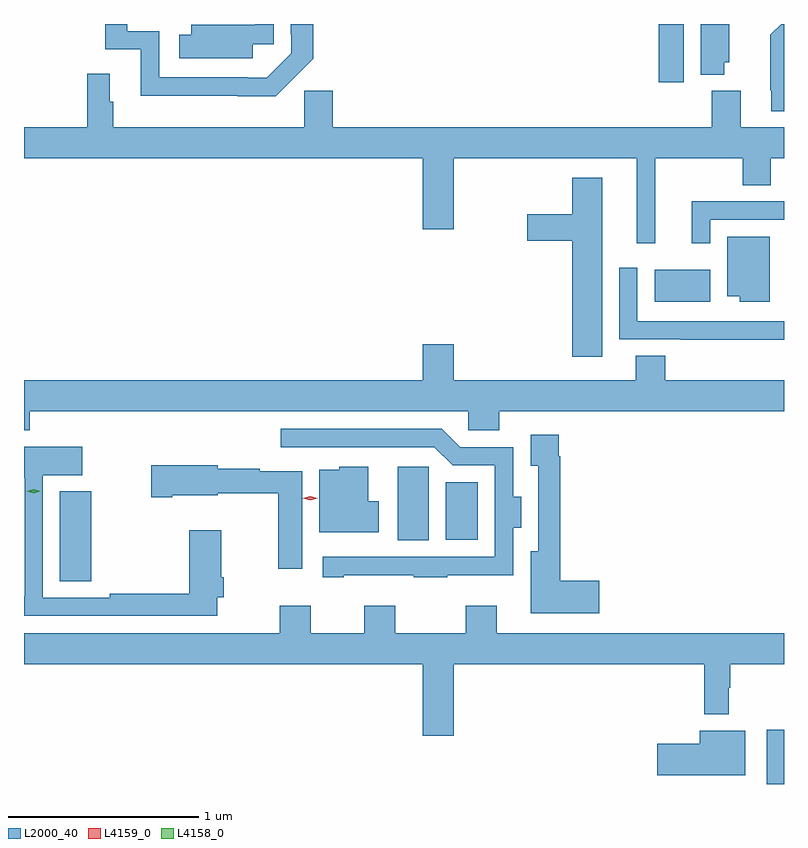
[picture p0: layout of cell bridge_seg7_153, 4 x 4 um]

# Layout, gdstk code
import gdstk
lib = gdstk.Library(unit=1e-6, precision=1e-09)
def R(c, l, rs):  # rectangles x0, y0, x1, y1
    for r in rs: c.add(gdstk.rectangle(r[:2], r[2:], *l))
def P(c, l, *ps):  # polygons
    for p in ps: c.add(gdstk.Polygon(p, *l))
L2000_40 = (2000, 40)
L4158_0 = (4158, 0)
L4159_0 = (4159, 0)

bridge_seg7_153 = lib.new_cell('bridge_seg7_153')
R(bridge_seg7_153, L2000_40, [(586.397,1041.279,586.489,1041.565), (582.677,1042.345,582.844,1042.819), (584.456,1042.561,584.62,1042.948), (584.708,1042.565,584.878,1042.867), (585.809,1043.816,586.102,1043.986), (585.83,1044.972,585.961,1045.279)])
P(bridge_seg7_153, L2000_40, [(586.489,1045.279),(586.474,1045.279),(586.417,1045.222),(586.417,1044.931),(586.421,1044.931),(586.421,1044.821),(586.489,1044.821)],
  [(586.174,1045.077),(586.201,1045.077),(586.201,1045.279),(586.052,1045.279),(586.052,1045.013),(586.174,1045.013)],
  [(584.005,1045.09),(584.012,1045.097),(584.012,1045.279),(583.893,1045.279),(583.893,1045.225),(583.896,1045.225),(583.896,1045.125),(583.767,1044.996),(583.667,1044.996),(583.667,1044.999),(583.2,1044.999),(583.2,1045.242),(583.032,1045.242),(583.032,1045.279),(582.916,1045.279),(582.916,1045.146),(583.103,1045.146),(583.103,1044.902),(583.615,1044.902),(583.615,1044.9),(583.814,1044.9)],
  [(583.693,1045.173),(583.803,1045.173),(583.803,1045.279),(583.707,1045.279),(583.707,1045.276),(583.37,1045.276),(583.37,1045.222),(583.305,1045.222),(583.305,1045.1),(583.693,1045.1)],
  [(585.812,1044.572),(586.273,1044.572),(586.273,1044.43),(586.42,1044.43),(586.42,1044.572),(586.489,1044.572),(586.489,1044.736),(586.261,1044.736),(586.261,1044.928),(586.109,1044.928),(586.109,1044.736),(584.114,1044.736),(584.114,1044.927),(583.963,1044.927),(583.963,1044.736),(582.959,1044.736),(582.959,1044.869),(582.94,1044.869),(582.94,1045.018),(582.823,1045.018),(582.823,1044.736),(582.489,1044.736),(582.489,1044.572),(584.588,1044.572),(584.588,1044.198),(584.752,1044.198),(584.752,1044.572),(585.713,1044.572),(585.713,1044.126),(585.812,1044.126)],
  [(585.532,1044.469),(585.374,1044.469),(585.374,1044.279),(585.138,1044.279),(585.138,1044.137),(585.374,1044.137),(585.374,1043.529),(585.532,1043.529)],
  [(586.101,1044.249),(586.489,1044.249),(586.489,1044.345),(586.004,1044.345),(586.004,1044.126),(586.101,1044.126)],
  [(586.414,1044.16),(586.19,1044.16),(586.19,1043.846),(586.256,1043.846),(586.256,1043.816),(586.414,1043.816)],
  [(586.489,1043.715),(585.717,1043.715),(585.717,1043.995),(585.621,1043.995),(585.621,1043.619),(585.946,1043.619),(585.946,1043.618),(586.489,1043.618)],
  [(582.518,1043.24),(584.826,1043.24),(584.826,1043.142),(584.99,1043.142),(584.99,1043.24),(586.489,1043.24),(586.489,1043.404),(585.863,1043.404),(585.863,1043.534),(585.71,1043.534),(585.71,1043.404),(584.752,1043.404),(584.752,1043.593),(584.588,1043.593),(584.588,1043.404),(582.489,1043.404),(582.489,1043.141),(582.518,1043.141)],
  [(584.173,1042.379),(584.539,1042.379),(584.539,1042.368),(584.717,1042.368),(584.717,1042.379),(585.063,1042.379),(585.063,1042.628),(585.106,1042.628),(585.106,1042.792),(585.064,1042.792),(585.064,1043.052),(584.784,1043.052),(584.688,1043.148),(583.839,1043.148),(583.839,1043.052),(584.649,1043.052),(584.745,1042.956),(584.967,1042.956),(584.967,1042.476),(584.061,1042.476),(584.061,1042.368),(584.173,1042.368)],
  [(585.517,1042.349),(585.311,1042.349),(585.311,1043.003),(585.304,1043.003),(585.304,1043.116),(585.155,1043.116),(585.155,1042.955),(585.195,1042.955),(585.195,1042.504),(585.155,1042.504),(585.155,1042.178),(585.517,1042.178)],
  [(583.506,1042.262),(583.541,1042.262),(583.541,1042.366),(583.528,1042.366),(583.528,1042.615),(583.358,1042.615),(583.358,1042.28),(582.94,1042.28),(582.94,1042.26),(582.588,1042.26),(582.588,1042.904),(582.796,1042.904),(582.796,1043.053),(582.489,1043.053),(582.489,1042.892),(582.492,1042.892),(582.492,1042.267),(582.489,1042.267),(582.489,1042.164),(583.506,1042.164)],
  [(583.954,1042.926),(583.73,1042.926),(583.73,1042.939),(583.51,1042.939),(583.51,1042.957),(583.158,1042.957),(583.158,1042.787),(583.27,1042.787),(583.27,1042.799),(583.51,1042.799),(583.51,1042.81),(583.826,1042.81),(583.826,1042.413),(583.954,1042.413)],
  [(584.356,1042.768),(584.302,1042.768),(584.302,1042.948),(584.148,1042.948),(584.148,1042.933),(584.042,1042.933),(584.042,1042.604),(584.356,1042.604)],
  [(584.752,1041.908),(586.069,1041.908),(586.069,1041.645),(586.198,1041.645),(586.198,1041.785),(586.205,1041.785),(586.205,1041.908),(586.489,1041.908),(586.489,1042.072),(584.977,1042.072),(584.977,1042.216),(584.813,1042.216),(584.813,1042.072),(584.443,1042.072),(584.443,1042.216),(584.279,1042.216),(584.279,1042.072),(583.999,1042.072),(583.999,1042.216),(583.835,1042.216),(583.835,1042.072),(582.489,1042.072),(582.489,1041.908),(584.588,1041.908),(584.588,1041.534),(584.752,1041.534)],
  [(586.285,1041.559),(586.046,1041.559),(586.046,1041.492),(585.822,1041.492),(585.822,1041.326),(586.285,1041.326)])
P(bridge_seg7_153, L4158_0, [(582.539,1042.81),(582.504,1042.82),(582.504,1042.82),(582.504,1042.82),(582.539,1042.83),(582.574,1042.82),(582.574,1042.82),(582.574,1042.82)])
P(bridge_seg7_153, L4159_0, [(583.996,1042.773),(583.957,1042.783),(583.956,1042.783),(583.957,1042.783),(583.996,1042.793),(584.035,1042.783),(584.035,1042.783),(584.035,1042.783)])

lib.write_gds('bridge_seg7_153.gds')
